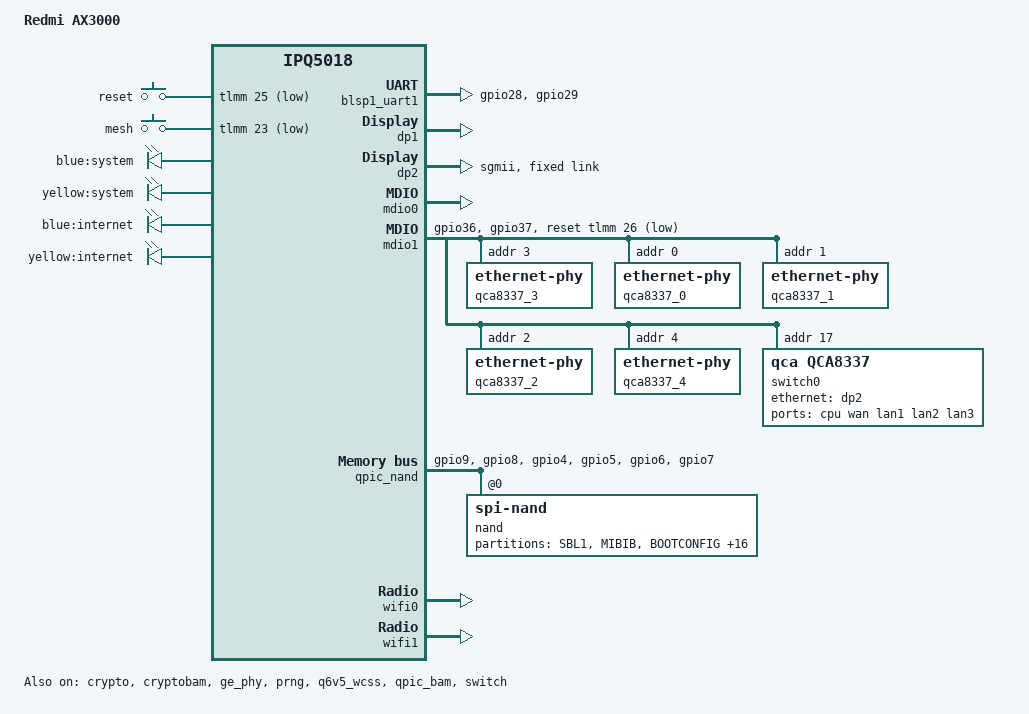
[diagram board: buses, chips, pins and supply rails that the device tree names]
// SPDX-License-Identifier: (GPL-2.0+)

/dts-v1/;
#include "ipq5018.dtsi"
#include "ipq5018-ess.dtsi"
#include <dt-bindings/gpio/gpio.h>
#include <dt-bindings/input/input.h>

/ {
	#address-cells = <0x2>;
	#size-cells = <0x2>;
	model = "Redmi AX3000";
	compatible = "redmi,ax3000", "qcom,ipq5018";
	interrupt-parent = <&intc>;

	aliases {
		ethernet0 = &dp1;
		ethernet1 = &dp2;
		label-mac-device = &dp2;
		serial0 = &blsp1_uart1;
		led-boot = &led_system_blue;
		led-failsafe = &led_system_yellow;
		led-running = &led_system_blue;
		led-upgrade = &led_system_yellow;
	};

	chosen {
		stdout-path = "serial0:115200n8";
		bootargs-append = " root=/dev/ubiblock0_1 coherent_pool=2M";
	};

	keys {
		compatible = "gpio-keys";
		pinctrl-0 = <&button_pins>;
		pinctrl-names = "default";

		button_reset {
			label = "reset";
			gpios = <&tlmm 25 GPIO_ACTIVE_LOW>;
			linux,input-type = <EV_KEY>;
			linux,code = <KEY_RESTART>;
			debounce-interval = <60>;
		};

		button_mesh {
			label = "mesh";
			gpios = <&tlmm 23 GPIO_ACTIVE_LOW>;
			linux,input-type = <EV_KEY>;
			linux,code = <KEY_WPS_BUTTON>;
			debounce-interval = <60>;
		};
	};

	leds {
		compatible = "gpio-leds";
		pinctrl-0 = <&leds_pins>;
		pinctrl-names = "default";

		led_system_blue: led_system_blue {
			label = "blue:system";
			gpio = <&tlmm 19 GPIO_ACTIVE_HIGH>;
			default-state = "on";
		};

		led_system_yellow: led_system_yellow {
			label = "yellow:system";
			gpio = <&tlmm 17 GPIO_ACTIVE_HIGH>;
		};

		led_internet_blue: led_internet_blue {
			label = "blue:internet";
			gpio = <&tlmm 22 GPIO_ACTIVE_HIGH>;
		};

		led_internet_yellow: led_internet_yellow {
			label = "yellow:internet";
			gpio = <&tlmm 20 GPIO_ACTIVE_HIGH>;
		};
	};

	reserved-memory {
		tz_appps@4a400000 {
			no-map;
			reg = <0x0 0x4a400000 0x0 0x400000>;
		};

		q6_mem_regions: q6_mem_regions@4b000000 {
			no-map;
			reg = <0x0 0x4b000000 0x0 0x3000000>;
		};
	};
};

&sleep_clk {
	clock-frequency = <32000>;
};

&xo_board_clk {
	clock-frequency = <24000000>;
};

&blsp1_uart1 {
	pinctrl-0 = <&blsp0_uart_pins>;
	pinctrl-names = "default";
	status = "okay";
};

&crypto {
	status = "okay";
};

&cryptobam {
	status = "okay";
};

&dp1 {
	status = "okay";
};

&dp2 {
	phy-mode = "sgmii";
	status = "okay";

	fixed-link {
		speed = <1000>;
		full-duplex;
	};
};

&ge_phy {
	status = "okay";
};

&mdio0 {
	status = "okay";
    resets = <&gcc GCC_GEPHY_MDC_SW_ARES>;
    reset-names = "phy";
};

&mdio1 {
	pinctrl-0 = <&mdio1_pins>;
	pinctrl-names = "default";
	reset-gpios = <&tlmm 26 GPIO_ACTIVE_LOW>;
	status = "okay";

	// QCA8337 Phy3 -> WAN
	qca8337_3: ethernet-phy@3 {
		reg = <3>;
	};
	// QCA8337 Phy0 -> LAN1
	qca8337_0: ethernet-phy@0 {
		reg = <0>;
	};
	// QCA8337 Phy1 -> LAN2
	qca8337_1: ethernet-phy@1 {
		reg = <1>;
	};
	// QCA8337 Phy2 -> LAN3
	qca8337_2: ethernet-phy@2 {
		reg = <2>;
	};
    // QCA8337 Phy4 -> IPQ5018 GE Phy
	qca8337_4: ethernet-phy@4 {
		reg = <4>;
	};

	// QCA8337 switch
	switch0: ethernet-switch@17 {
		compatible = "qca,qca8337";
		reg = <17>;
		#address-cells = <1>;
		#size-cells = <0>;
		switch_cpu_bmp = <0x60>;  // CPU port bitmap: 5 6
		switch_lan_bmp = <0x0e>;  // LAN port bitmap: 1 2 3
		switch_wan_bmp = <0x10>;  // WAN port bitmap: 4

		ports {
			#address-cells = <1>;
			#size-cells = <0>;

			switch0cpu: port@0 {
				reg = <0>;
				label = "cpu";
				phy-mode = "sgmii";
				ethernet = <&dp2>;
				qca,sgmii-enable-pll;
				fixed-link {
					speed = <1000>;
					full-duplex;
				};
			};
			// QCA8337 Phy3 -> WAN
			port@4 {
				reg = <4>;
				label = "wan";
				phy-handle = <&qca8337_3>;
				port_id = <4>;
				phy_address = <3>;
			};

			// QCA8337 Phy0 -> LAN1
			port@1 {
				reg = <1>;
				label = "lan1";
				phy-handle = <&qca8337_0>;
				port_id = <1>;
				phy_address = <0>;
			};
			// QCA8337 Phy1 -> LAN2
			port@2 {
				reg = <2>;
				label = "lan2";
				phy-handle = <&qca8337_1>;
				port_id = <2>;
				phy_address = <1>;
			};
			// QCA8337 Phy2 -> LAN3
			port@3 {
				reg = <3>;
				label = "lan3";
				phy-handle = <&qca8337_2>;
				port_id = <3>;
				phy_address = <2>;
			};
		};
	};
};

&prng {
	status = "okay";
};

&q6v5_wcss {
	status = "okay";
	memory-region = <&q6_mem_regions>;
	firmware-name = "ath11k/IPQ5018/hw1.0/q6_fw.mdt",
					"ath11k/IPQ5018/hw1.0/m3_fw.mdt",
					"ath11k/qcn6122/hw1.0/m3_fw.mdt";


	boot-args =
			</*       type: */ 0x2 /* PCIE1 */
		     /*     length: */ 4
		     /*      PD id: */ 2
		     /* reset GPIO: */ 27
		     /*   reserved: */ 0 0>;

	// IPQ5018
	q6_wcss_pd1: pd-1 {
		firmware-name = "ath11k/IPQ5018/hw1.0/q6_fw.mdt";
		resets =
			<&gcc GCC_WCSSAON_RESET>,
			<&gcc GCC_WCSS_BCR>,
			<&gcc GCC_CE_BCR>;
		reset-names =
			"wcss_aon_reset",
			"wcss_reset",
			"ce_reset";
		clocks =
			<&gcc GCC_WCSS_AHB_S_CLK>,
			<&gcc GCC_WCSS_ACMT_CLK>,
			<&gcc GCC_WCSS_AXI_M_CLK>;
		clock-names =
			"gcc_wcss_ahb_s_clk",
			"gcc_wcss_acmt_clk",
			"gcc_wcss_axi_m_clk";

		interrupts-extended =
			<&wcss_smp2p_in 8 0>,
			<&wcss_smp2p_in 9 0>,
			<&wcss_smp2p_in 12 0>,
			<&wcss_smp2p_in 11 0>;
		interrupt-names =
			"fatal",
			"ready",
			"spawn-ack",
			"stop-ack";
		qcom,smem-states =
			<&wcss_smp2p_out 8>,
			<&wcss_smp2p_out 9>,
			<&wcss_smp2p_out 10>;
		qcom,smem-state-names =
			"shutdown",
			"stop",
			"spawn";
	};

	// QCN6102 5G
	q6_wcss_pd2: pd-2 {
		firmware-name = "ath11k/IPQ5018/hw1.0/q6_fw.mdt";
		interrupts-extended =
			<&wcss_smp2p_in 16 0>,
			<&wcss_smp2p_in 17 0>,
			<&wcss_smp2p_in 20 0>,
			<&wcss_smp2p_in 19 0>;
		interrupt-names =
			"fatal",
			"ready",
			"spawn-ack",
			"stop-ack";
		qcom,smem-states =
			<&wcss_smp2p_out 16>,
			<&wcss_smp2p_out 17>,
			<&wcss_smp2p_out 18>;
		qcom,smem-state-names =
			"shutdown",
			"stop",
			"spawn";
	};
};

&qpic_bam {
	status = "okay";
};

&qpic_nand {
	pinctrl-0 = <&qpic_pins>;
	pinctrl-names = "default";
	status = "okay";

	nand@0 {
		compatible = "spi-nand";
		#address-cells = <1>;
		#size-cells = <1>;
		reg = <0>;

		nand-ecc-engine = <&qpic_nand>;
		nand-ecc-strength = <4>;
		nand-ecc-step-size = <512>;
		nand-bus-width = <8>;

		partitions {
		    compatible = "fixed-partitions";

		    // Partition 0: SBL1
		    SBL1@0 {
		        label = "SBL1";
		        reg = <0x0 0x80000>;
		    };

		    // Partition 1: MIBIB
		    MIBIB@80000 {
		        label = "MIBIB";
		        reg = <0x80000 0x80000>;
		    };

		    // Partition 2: BOOTCONFIG
		    BOOTCONFIG@100000 {
		        label = "BOOTCONFIG";
		        reg = <0x100000 0x40000>;
		    };

		    // Partition 3: BOOTCONFIG1
		    BOOTCONFIG1@140000 {
		        label = "BOOTCONFIG1";
		        reg = <0x140000 0x40000>;
		    };

		    // Partition 4: QSEE
		    QSEE@180000 {
		        label = "QSEE";
		        reg = <0x180000 0x100000>;
		    };

		    // Partition 5: QSEE_1
		    QSEE_1@280000 {
		        label = "QSEE_1";
		        reg = <0x280000 0x100000>;
		    };

		    // Partition 6: DEVCFG
		    DEVCFG@380000 {
		        label = "DEVCFG";
		        reg = <0x380000 0x40000>;
		    };

		    // Partition 7: DEVCFG_1
		    DEVCFG_1@3c0000 {
		        label = "DEVCFG_1";
		        reg = <0x3c0000 0x40000>;
		    };

		    // Partition 8: CDT
		    CDT@400000 {
		        label = "CDT";
		        reg = <0x400000 0x40000>;
		    };

		    // Partition 9: CDT_1
		    CDT_1@440000 {
		        label = "CDT_1";
		        reg = <0x440000 0x40000>;
		    };

		    // Partition 10: APPSBLENV
		    APPSBLENV@480000 {
		        label = "APPSBLENV";
		        reg = <0x480000 0x80000>;
		    };

		    // Partition 11: APPSBL
		    APPSBL@500000 {
		        label = "APPSBL";
		        reg = <0x500000 0x140000>;
		    };

		    // Partition 12: APPSBL_1
		    APPSBL_1@640000 {
		        label = "APPSBL_1";
		        reg = <0x640000 0x140000>;
		    };

		    // Partition 13: ART
		    ART@780000 {
		        label = "ART";
		        reg = <0x780000 0x100000>;
		    };

		    // Partition 14: TRAINING
		    TRAINING@880000 {
		        label = "TRAINING";
		        reg = <0x880000 0x80000>;
		    };

		    // Partition 15: bdata
		    bdata@900000 {
		        label = "bdata";
		        reg = <0x900000 0x80000>;
		    };

		    // Partition 16: crash
		    crash@980000 {
		        label = "crash";
		        reg = <0x980000 0x80000>;
		    };

		    // Partition 17: crash_log
		    crash_log@a00000 {
		        label = "crash_log";
		        reg = <0xa00000 0x80000>;
		    };

		    // Partition 18: rootfs (UBI partition)
		    rootfs@a80000 {
		        label = "rootfs";
		        reg = <0xa80000 0x7480000>;
		        compatible = "qcom,smem-partition", "ubi";
		    };
	    };
	};
};

&switch {
	switch_mac_mode = <MAC_MODE_SGMII_CHANNEL0>;
	status = "okay";

	qcom,port_phyinfo {
		// MAC0 -> GE Phy -> QCA8337 Phy4
		port@0 {
			port_id = <1>;
			mdiobus = <&mdio0>;
			phy_address = <7>;
			phy_dac = <0x10 0x10>;
		};
		// MAC1 ---SGMII---> QCA8337 SerDes
		port@1 {
			port_id = <2>;
			forced-speed = <1000>;
			forced-duplex = <1>;
		};
	};
};

&tlmm {
	blsp0_uart_pins: uart_pins {
		blsp0_uart_rx_tx {
			pins = "gpio28", "gpio29";
			function = "blsp0_uart1";
            drive-strength = <8>;
			bias-disable;
		};
	};

	button_pins: button_pins {
		button_reset {
			pins = "gpio25";
			function = "gpio";
			drive-strength = <8>;
			bias-pull-up;
		};

		button_mesh {
			pins = "gpio23";
			function = "gpio";
			drive-strength = <8>;
			bias-pull-up;
		};
	};

	leds_pins: leds_pins {
		led_system_blue {
			pins = "gpio19";
			function = "gpio";
			drive-strength = <8>;
			bias-pull-down;
		};

		led_system_yellow {
			pins = "gpio17";
			function = "gpio";
			drive-strength = <8>;
			bias-pull-down;
		};

		led_internet_blue {
			pins = "gpio22";
			function = "gpio";
			drive-strength = <8>;
			bias-pull-down;
		};

		led_internet_yellow {
			pins = "gpio20";
			function = "gpio";
			drive-strength = <8>;
			bias-pull-down;
		};
	};

	mdio1_pins: mdio-state {
		mdc-pins {
			pins = "gpio36";
			function = "mdc";
			drive-strength = <8>;
			bias-pull-up;
		};
		mdio-pins {
			pins = "gpio37";
			function = "mdio";
			drive-strength = <8>;
			bias-pull-up;
		};
	};

	qpic_pins: qpic-state {
		clock-pins {
			pins = "gpio9";
			function = "qspi_clk";
			drive-strength = <8>;
			bias-disable;
		};
		cs-pins {
			pins = "gpio8";
			function = "qspi_cs";
			drive-strength = <8>;
			bias-disable;
		};
		data-pins {
			pins = "gpio4", "gpio5", "gpio6", "gpio7";
			function = "qspi_data";
			drive-strength = <8>;
			bias-disable;
		};
	};
};

&wifi0 {
    qcom,multipd_arch;
	qcom,rproc = <&q6_wcss_pd1>;
	qcom,userpd-subsys-name = "q6v5_wcss_userpd1";
	qcom,ath11k-calibration-variant = "Redmi-AX3000";
	qcom,ath11k-fw-memory-mode = <2>;
	qcom,bdf-addr = <0x4c400000>;
	status = "okay";
};

&wifi1 {
    qcom,multipd_arch;
	qcom,rproc = <&q6_wcss_pd2>;
	qcom,userpd-subsys-name = "q6v5_wcss_userpd2";
	qcom,ath11k-calibration-variant = "Redmi-AX3000";
	qcom,ath11k-fw-memory-mode = <2>;
	qcom,bdf-addr = <0x4d100000>;
	qcom,m3-dump-addr = <0x4df00000>;
	status = "okay";
};
